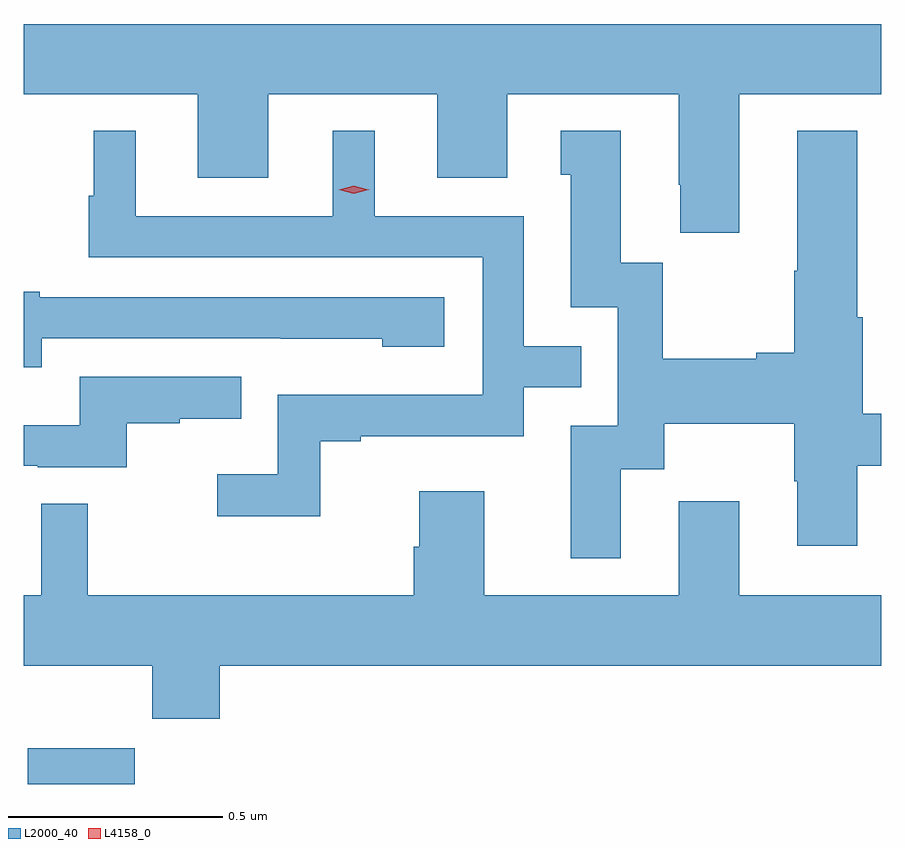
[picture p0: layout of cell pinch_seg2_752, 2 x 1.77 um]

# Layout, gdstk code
import gdstk
lib = gdstk.Library(unit=1e-6, precision=1e-09)
def R(c, l, rs):  # rectangles x0, y0, x1, y1
    for r in rs: c.add(gdstk.rectangle(r[:2], r[2:], *l))
def P(c, l, *ps):  # polygons
    for p in ps: c.add(gdstk.Polygon(p, *l))
L2000_40 = (2000, 40)
L4158_0 = (4158, 0)

pinch_seg2_752 = lib.new_cell('pinch_seg2_752')
R(pinch_seg2_752, L2000_40, [(837.917,630.044,838.166,630.127)])
P(pinch_seg2_752, L2000_40, [(839.575,631.652),(839.907,631.652),(839.907,631.816),(837.907,631.816),(837.907,631.652),(838.313,631.652),(838.313,631.458),(838.477,631.458),(838.477,631.652),(838.871,631.652),(838.871,631.458),(839.035,631.458),(839.035,631.652),(839.435,631.652),(839.435,631.441),(839.438,631.441),(839.438,631.329),(839.575,631.329)],
  [(838.599,630.843),(838.693,630.843),(838.693,630.855),(839.073,630.855),(839.073,630.969),(839.207,630.969),(839.207,631.065),(839.073,631.065),(839.073,631.368),(838.726,631.368),(838.726,631.567),(838.628,631.567),(838.628,631.368),(838.168,631.368),(838.168,631.567),(838.07,631.567),(838.07,631.416),(838.059,631.416),(838.059,631.272),(838.977,631.272),(838.977,630.951),(838.5,630.951),(838.5,630.766),(838.359,630.766),(838.359,630.668),(838.599,630.668)],
  [(839.299,630.778),(839.401,630.778),(839.401,630.884),(839.704,630.884),(839.704,630.75),(839.711,630.75),(839.711,630.6),(839.851,630.6),(839.851,630.786),(839.907,630.786),(839.907,630.907),(839.864,630.907),(839.864,631.132),(839.851,631.132),(839.851,631.567),(839.711,631.567),(839.711,631.241),(839.704,631.241),(839.704,631.049),(839.615,631.049),(839.615,631.036),(839.397,631.036),(839.397,631.259),(839.299,631.259),(839.299,631.567),(839.159,631.567),(839.159,631.464),(839.183,631.464),(839.183,631.155),(839.292,631.155),(839.292,630.879),(839.183,630.879),(839.183,630.57),(839.299,630.57)],
  [(837.949,631.083),(838.507,631.083),(838.507,631.082),(838.743,631.082),(838.743,631.064),(838.888,631.064),(838.888,631.179),(837.945,631.179),(837.945,631.192),(837.907,631.192),(837.907,631.016),(837.949,631.016)],
  [(838.148,630.885),(838.271,630.885),(838.271,630.896),(838.415,630.896),(838.415,630.993),(838.038,630.993),(838.038,630.881),(837.907,630.881),(837.907,630.786),(837.94,630.786),(837.94,630.783),(838.148,630.783)],
  [(838.364,630.32),(839.907,630.32),(839.907,630.484),(839.575,630.484),(839.575,630.703),(839.435,630.703),(839.435,630.484),(838.981,630.484),(838.981,630.727),(838.829,630.727),(838.829,630.597),(838.817,630.597),(838.817,630.484),(838.057,630.484),(838.057,630.698),(837.948,630.698),(837.948,630.484),(837.907,630.484),(837.907,630.32),(838.207,630.32),(838.207,630.196),(838.364,630.196)])
P(pinch_seg2_752, L4158_0, [(838.677,631.42),(838.642,631.43),(838.641,631.43),(838.642,631.43),(838.677,631.439),(838.712,631.429),(838.713,631.429),(838.712,631.429)])

lib.write_gds('pinch_seg2_752.gds')
